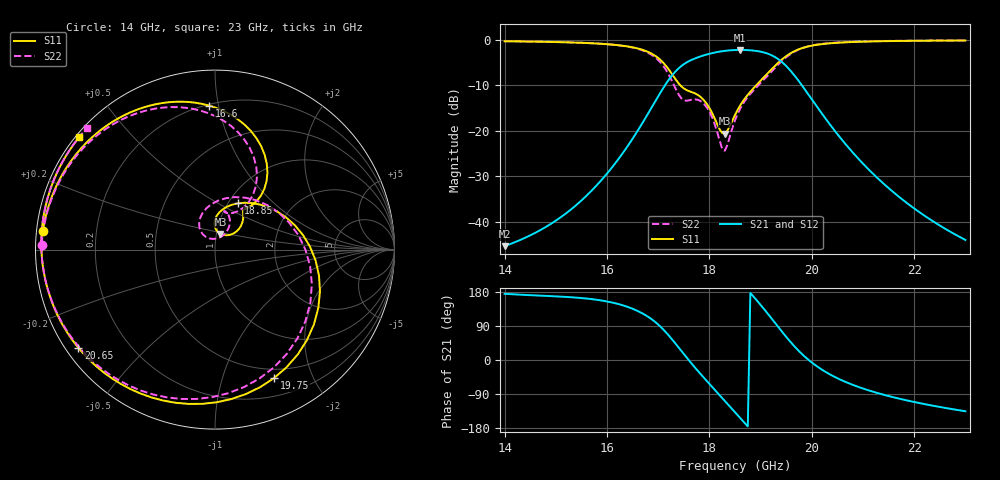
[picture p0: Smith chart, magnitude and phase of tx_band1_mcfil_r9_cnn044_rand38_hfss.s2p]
! Touchstone file exported from HFSS 3D Layout Design 2026.1.0
!  File:  D:/Work/SIM/ADS_AUTO_SIM/projects/RFSOC_RF/TX_Fillter.aedt
!  Generated:  11:38:14 PM Aug 30, 2026
!  Design:  TX_BAND1_MCFIL_R9_CNN044
!  Project:  TX_Fillter
# GHz S MA R 50.000000
! Terminal data exported
! Port[1] = Port1
! Port[2] = Port2
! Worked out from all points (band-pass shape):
!   181 points, 14 GHz to 23 GHz, reference 50 ohm
!   highest |S21| = -2.23 dB at 18.6 GHz (marker M1); lowest = -45.4 dB at 14 GHz (marker M2)
!   |S21| within 3 dB of the highest: 17.52 GHz to 19.45 GHz (1.93 GHz wide, 10.4 % of centre)
!   lowest |S11| = -20.6 dB at 18.3 GHz (marker M3), VSWR 1.20, Z = 52.3 + j9.25 ohm
!   |S11| at or under -10 dB: 17.43 GHz to 18.92 GHz (1.484 GHz wide, 8.17 % of centre)
!   |S22| runs from -24.4 to -0.1 dB; largest |S21 - S12| = 3.5e-15
!   S11 on the Smith chart (normalised r, x): 14 GHz: 0.02, +0.05; 16.6 GHz: 0.21, +0.94; 18.85 GHz: 1.11, +0.63; 19.75 GHz: 0.39, -1.49; 20.65 GHz: 0.04, -0.32; 23 GHz: 0.01, +0.36
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14  0.9646 173.7  0.005361 174.7  0.005361 174.7  0.966 178.4
15.5  0.9267 137.0  0.01705 163.5  0.01705 163.5  0.9283 143.4
16.1  0.8855 116.2  0.03954 151.7  0.03954 151.7  0.8849 123.2
16.6  0.8031 92.4  0.09996 129.3  0.09996 129.3  0.7946 99.1
17  0.6305 65.9  0.2389 93.5  0.2389 93.5  0.5982 71.1
17.35  0.3606 49.3  0.4563 41.2  0.4563 41.2  0.2825 55.9
17.55  0.2804 53.7  0.5615 7.2  0.5615 7.2  0.2136 73.1
17.7  0.2601 53.0  0.618 -17.1  0.618 -17.1  0.221 76.0
18.05  0.1577 40.2  0.7126 -70.5  0.7126 -70.5  0.1414 57.7
18.3  0.09282 71.0  0.7556 -107.8  0.7556 -107.8  0.06003 99.2
18.5  0.1488 91.2  0.7715 -137.6  0.7715 -137.6  0.1301 127.9
18.6  0.1888 87.1  0.7736 -152.6  0.7736 -152.6  0.1741 120.4
18.85  0.2887 63.4  0.7622 169.2  0.7622 169.2  0.2734 86.4
19.05  0.38 38.2  0.7295 137.2  0.7295 137.2  0.3574 50.3
19.25  0.497 9.4  0.6606 103.5  0.6606 103.5  0.4702 10.2
19.5  0.6609 -29.4  0.5147 61.1  0.5147 61.1  0.6421 -38.2
19.75  0.788 -65.4  0.3488 23.3  0.3488 23.3  0.7829 -78.1
20  0.8619 -94.6  0.2213 -6.7  0.2213 -6.7  0.8657 -107.9
20.3  0.9087 -121.3  0.1286 -33.9  0.1286 -33.9  0.9164 -133.6
20.65  0.9376 -144.3  0.0721 -57.3  0.0721 -57.3  0.9453 -155.0
21.5  0.9677 178.8  0.02334 -95.1  0.02334 -95.1  0.9722 171.8
23  0.9824 140.4  0.006279 -135.3  0.006279 -135.3  0.9834 136.7
